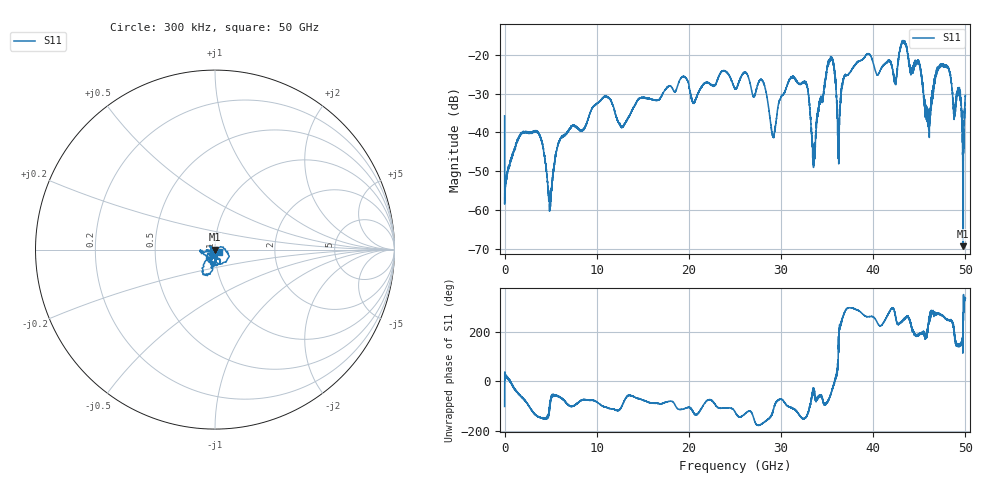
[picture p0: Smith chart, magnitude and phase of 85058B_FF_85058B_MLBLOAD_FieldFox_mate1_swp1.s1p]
!Created with skrf (http://scikit-rf.org).
# Hz S RI R 50.0
!freq ReS11 ImS11
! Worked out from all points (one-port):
!   10001 points, 300 kHz to 50 GHz, reference 50 ohm
!   lowest |S11| = -69.4 dB at 49.77 GHz (marker M1), VSWR 1.00, Z = 50 - j0.0337 ohm
!   |S11| at or under -10 dB: start of sweep to end of sweep
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300000  -0.0036 -0.016
2.552985e8  0.00281 0.000687
1.71029e9  0.00477 -0.00802
3.585278e9  -0.00817 -0.00612
4.92027e9  -6.75e-05 -0.000982
6.250262e9  0.00297 -0.00861
1.090523e10  -0.00752 -0.0286
1.250022e10  -0.00543 -0.0116
1.875019e10  -0.0142 -0.0368
2.500015e10  -0.021 -0.0307
2.795513e10  -0.0463 -0.00677
2.915513e10  -0.00419 -0.00768
3.125011e10  -0.0191 -0.0487
3.27451e10  -0.0345 -0.0256
3.35501e10  0.00352 -0.00385
3.525009e10  0.0304 -0.0819
3.571009e10  0.0685 -0.0198
3.624008e10  -0.00911 0.00653
3.676008e10  -0.00358 -0.0472
3.750008e10  0.0268 -0.0533
4.236505e10  0.00259 -0.0439
4.375004e10  -0.0211 -0.0971
4.499003e10  -0.0752 -0.0109
4.596002e10  -0.0116 -0.00949
4.697502e10  0.00461 -0.0643
4.805501e10  -0.0233 -0.0644
4.977e10  4.86e-05 -0.000337
5e10  0.0274 -0.0126
